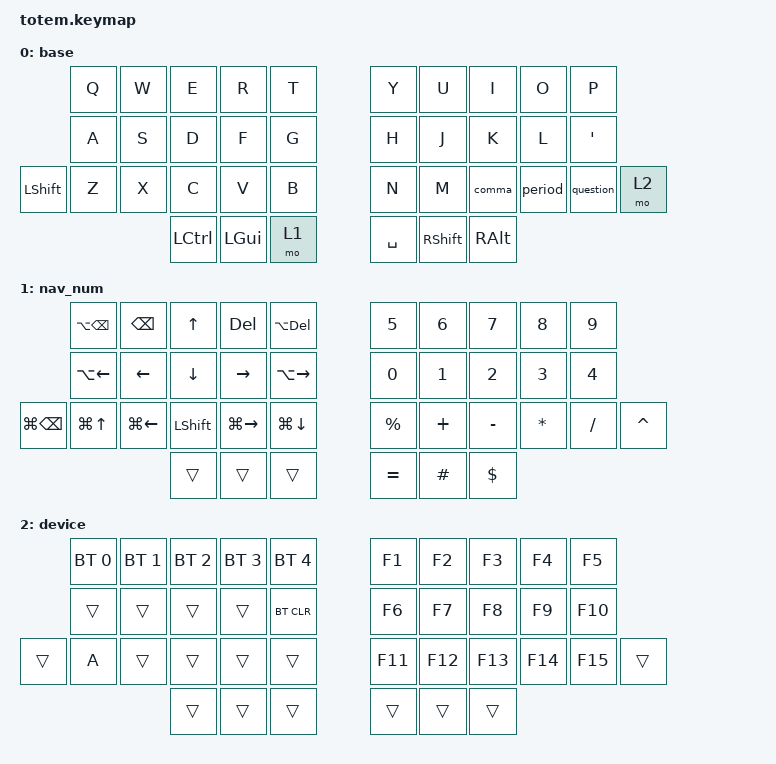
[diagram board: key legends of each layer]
//
//                                                        ▀▀▀▀▀     ▀▀▀▀▀          ▀▀█▀▀
//                                                        ▄▀▀▀▄  ▄  ▄▀▀▀▄  ▄  ▄▀▀▀▄  █  ▄▀▀▀▄
//                                                        █   █  █  █   █  █  █   █  █  █   █
//                                                         ▀▀▀   █   ▀▀▀   █   ▀▀▀   ▀   ▀▀▀
//                                                               █      ▄▄▄█▄▄▄    █   █  
//                                                               ▀      █  █  █     █▄█
//                                                             ▀▀▀▀▀    █  █  █      ▀
//                                                                      ▀  ▀  ▀
//
// ▄▄▄▄▄▄▄▄▄▄▄▄▄▄▄▄▄▄▄▄▄▄▄▄▄▄▄▄▄▄▄▄▄▄▄▄▄▄▄▄▄▄▄▄▄▄▄▄▄▄▄▄▄▄▄▄▄▄▄▄▄▄▄▄▄▄▄▄▄▄▄▄▄▄▄▄▄▄▄▄▄▄▄▄▄▄▄▄▄▄▄▄▄▄▄▄▄▄▄▄▄▄▄▄▄▄▄▄▄▄▄▄▄▄▄▄▄▄▄▄▄▄▄▄▄▄▄▄▄▄▄▄▄▄▄▄▄▄▄▄▄▄▄▄▄▄▄▄▄

#include <behaviors.dtsi>
#include <dt-bindings/zmk/bt.h>
#include <dt-bindings/zmk/keys.h>

#define BASE 0
#define NAV  1
#define SYM  2
#define ADJ  3
#define TVP1 4
#define TVP2 5

&lt { flavor = "hold-preferred"; };

&sk { release-after-ms = <1200>; };

/ {
    combos {
        compatible = "zmk,combos";

        // row 0

        combo_qw {
            bindings = <&kp ESCAPE>;
            key-positions = <0 1>;
            timeout-ms = <20>;
            slow-release;
        };

        combo_we {
            bindings = <&kp SPACE>;
            key-positions = <1 2>;
            timeout-ms = <20>;
            slow-release;
        };

        combo_er {
            bindings = <&kp C_PLAY_PAUSE>;
            key-positions = <2 3>;
            timeout-ms = <20>;
            slow-release;
        };

        combo_rt {
            bindings = <&kp LEFT_SHIFT>;
            key-positions = <3 4>;
            timeout-ms = <20>;
            slow-release;
        };

        combo_yu {
            bindings = <&kp LEFT_SHIFT>;
            key-positions = <5 6>;
            timeout-ms = <20>;
            slow-release;
        };

        combo_ui {
            bindings = <&kp AT_SIGN>;
            key-positions = <6 7>;
            timeout-ms = <20>;
            slow-release;
        };

        combo_io {
            bindings = <&kp AMPERSAND>;
            key-positions = <7 8>;
            timeout-ms = <20>;
            slow-release;
        };

        combo_op {
            bindings = <&kp UNDERSCORE>;
            key-positions = <8 9>;
            timeout-ms = <20>;
            slow-release;
        };

        // row 1

        combo_as {
            bindings = <&kp TAB>;
            key-positions = <10 11>;
            timeout-ms = <20>;
            slow-release;
        };

        combo_sd {
            bindings = <&kp ENTER>;
            key-positions = <11 12>;
            timeout-ms = <20>;
            slow-release;
        };

        combo_df {
            bindings = <&LB 0 0>;
            key-positions = <12 13>;
            timeout-ms = <20>;
            slow-release;
        };

        combo_fg {
            bindings = <&kp LSHIFT>;
            key-positions = <13 14>;
            timeout-ms = <20>;
            slow-release;
        };

        combo_hj {
            bindings = <&kp LESS_THAN>;
            key-positions = <15 16>;
            timeout-ms = <20>;
            slow-release;
        };

        combo_jk {
            bindings = <&kp LEFT_PARENTHESIS>;
            key-positions = <16 17>;
            timeout-ms = <20>;
            slow-release;
        };

        combo_kl {
            bindings = <&kp LEFT_BRACKET>;
            key-positions = <17 18>;
            timeout-ms = <20>;
            slow-release;
        };

        combo_lsemicolon {
            bindings = <&kp LEFT_BRACE>;
            key-positions = <18 19>;
            timeout-ms = <20>;
            slow-release;
        };

        // row 2

        combo_zx {
            bindings = <&kp LEFT_SHIFT>;
            key-positions = <21 22>;
            timeout-ms = <20>;
            slow-release;
        };

        combo_xc {
            bindings = <&kp LEFT_SHIFT>;
            key-positions = <22 23>;
            timeout-ms = <20>;
            slow-release;
        };

        combo_cv {
            bindings = <&kp LEFT_SHIFT>;
            key-positions = <23 24>;
            timeout-ms = <20>;
            slow-release;
        };

        combo_vb {
            bindings = <&kp LEFT_SHIFT>;
            key-positions = <24 25>;
            timeout-ms = <20>;
            slow-release;
        };

        combo_nm {
            bindings = <&kp GREATER_THAN>;
            key-positions = <26 27>;
            timeout-ms = <20>;
            slow-release;
        };

        combo_mcomma {
            bindings = <&kp RIGHT_PARENTHESIS>;
            key-positions = <27 28>;
            timeout-ms = <20>;
            slow-release;
        };

        combo_comma_dot {
            bindings = <&kp RIGHT_BRACKET>;
            key-positions = <28 29>;
            timeout-ms = <20>;
            slow-release;
        };

        combo_dot_slash {
            bindings = <&kp RIGHT_BRACE>;
            key-positions = <29 30>;
            timeout-ms = <20>;
            slow-release;
        };

        // vertical 01

        combo_qa {
            bindings = <&kp LG(LEFT_BRACKET)>;
            key-positions = <0 10>;
            timeout-ms = <20>;
            slow-release;
        };

        combo_ws {
            bindings = <&kp LG(RIGHT_BRACKET)>;
            key-positions = <1 11>;
            timeout-ms = <20>;
            slow-release;
        };

        combo_ed {
            bindings = <&kp LS(LC(TAB))>;
            key-positions = <2 12>;
            timeout-ms = <20>;
            slow-release;
        };

        combo_rf {
            bindings = <&kp LC(TAB)>;
            key-positions = <3 13>;
            timeout-ms = <20>;
            slow-release;
        };

        combo_tg {
            bindings = <&kp LG(LS(T))>;
            key-positions = <4 14>;
            timeout-ms = <20>;
            slow-release;
        };

        combo_yh {
            bindings = <&kp GRAVE>;
            key-positions = <5 15>;
            timeout-ms = <20>;
            slow-release;
        };

        combo_uj {
            bindings = <&kp LEFT_SHIFT>;
            key-positions = <6 16>;
            timeout-ms = <20>;
            slow-release;
        };

        combo_ik {
            bindings = <&kp LEFT_SHIFT>;
            key-positions = <7 17>;
            timeout-ms = <20>;
            slow-release;
        };

        combo_ol {
            bindings = <&kp LEFT_SHIFT>;
            key-positions = <8 18>;
            timeout-ms = <20>;
            slow-release;
        };

        combo_psemicolon {
            bindings = <&kp PIPE>;
            key-positions = <9 19>;
            timeout-ms = <20>;
            slow-release;
        };

        // vertical 12

        combo_az {
            bindings = <&kp LEFT_SHIFT>;
            key-positions = <10 21>;
            timeout-ms = <20>;
            slow-release;
        };

        combo_sx {
            bindings = <&kp LEFT_SHIFT>;
            key-positions = <11 22>;
            timeout-ms = <20>;
            slow-release;
        };

        combo_dc {
            bindings = <&kp LEFT_SHIFT>;
            key-positions = <12 23>;
            timeout-ms = <20>;
            slow-release;
        };

        combo_fv {
            bindings = <&kp LEFT_SHIFT>;
            key-positions = <13 24>;
            timeout-ms = <20>;
            slow-release;
        };

        combo_gb {
            bindings = <&kp LEFT_SHIFT>;
            key-positions = <14 25>;
            timeout-ms = <20>;
            slow-release;
        };

        combo_hn {
            bindings = <&kp TILDE>;
            key-positions = <15 26>;
            timeout-ms = <20>;
            slow-release;
        };

        combo_jm {
            bindings = <&kp LEFT_SHIFT>;
            key-positions = <16 27>;
            timeout-ms = <20>;
            slow-release;
        };

        combo_kcomma {
            bindings = <&kp LEFT_SHIFT>;
            key-positions = <17 28>;
            timeout-ms = <20>;
            slow-release;
        };

        combo_ldot {
            bindings = <&kp LEFT_SHIFT>;
            key-positions = <18 29>;
            timeout-ms = <20>;
            slow-release;
        };

        combo_semicolon_slash {
            bindings = <&kp BACKSLASH>;
            key-positions = <19 30>;
            timeout-ms = <20>;
            slow-release;
        };

        // down-right 01

        combo_qs {
            bindings = <&kp LEFT_SHIFT>;
            key-positions = <0 11>;
            timeout-ms = <20>;
            slow-release;
        };

        combo_wd {
            bindings = <&kp C_BRIGHTNESS_DEC>;
            key-positions = <1 12>;
            timeout-ms = <20>;
            slow-release;
        };

        combo_ef {
            bindings = <&kp C_VOLUME_DOWN>;
            key-positions = <2 13>;
            timeout-ms = <20>;
            slow-release;
        };

        combo_rg {
            bindings = <&kp LEFT_SHIFT>;
            key-positions = <3 14>;
            timeout-ms = <20>;
            slow-release;
        };

        combo_yj {
            bindings = <&kp LEFT_SHIFT>;
            key-positions = <5 16>;
            timeout-ms = <20>;
            slow-release;
        };

        combo_uk {
            bindings = <&kp LEFT_SHIFT>;
            key-positions = <6 17>;
            timeout-ms = <20>;
            slow-release;
        };

        combo_il {
            bindings = <&kp LEFT_SHIFT>;
            key-positions = <7 18>;
            timeout-ms = <20>;
            slow-release;
        };

        combo_osemicolon {
            bindings = <&kp LEFT_SHIFT>;
            key-positions = <8 19>;
            timeout-ms = <20>;
            slow-release;
        };

        // down-right 12

        combo_ax {
            bindings = <&kp LEFT_SHIFT>;
            key-positions = <10 22>;
            timeout-ms = <20>;
            slow-release;
        };

        combo_sc {
            bindings = <&kp LEFT_SHIFT>;
            key-positions = <11 23>;
            timeout-ms = <20>;
            slow-release;
        };

        combo_dv {
            bindings = <&kp LEFT_SHIFT>;
            key-positions = <12 24>;
            timeout-ms = <20>;
            slow-release;
        };

        combo_fb {
            bindings = <&kp LEFT_SHIFT>;
            key-positions = <13 25>;
            timeout-ms = <20>;
            slow-release;
        };

        combo_hm {
            bindings = <&kp LEFT_SHIFT>;
            key-positions = <15 27>;
            timeout-ms = <20>;
            slow-release;
        };

        combo_jcomma {
            bindings = <&kp LEFT_SHIFT>;
            key-positions = <16 28>;
            timeout-ms = <20>;
            slow-release;
        };

        combo_kdot {
            bindings = <&kp LEFT_SHIFT>;
            key-positions = <17 29>;
            timeout-ms = <20>;
            slow-release;
        };

        combo_lslash {
            bindings = <&kp LEFT_SHIFT>;
            key-positions = <18 30>;
            timeout-ms = <20>;
            slow-release;
        };

        // down-left 01

        combo_wa {
            bindings = <&kp LEFT_SHIFT>;
            key-positions = <1 10>;
            timeout-ms = <20>;
            slow-release;
        };

        combo_es {
            bindings = <&kp C_BRIGHTNESS_INC>;
            key-positions = <2 11>;
            timeout-ms = <20>;
            slow-release;
        };

        combo_rd {
            bindings = <&kp C_VOLUME_UP>;
            key-positions = <3 12>;
            timeout-ms = <20>;
            slow-release;
        };

        combo_tf {
            bindings = <&kp LEFT_SHIFT>;
            key-positions = <4 13>;
            timeout-ms = <20>;
            slow-release;
        };

        combo_uh {
            bindings = <&kp LEFT_SHIFT>;
            key-positions = <6 15>;
            timeout-ms = <20>;
            slow-release;
        };

        combo_ij {
            bindings = <&kp LEFT_SHIFT>;
            key-positions = <7 16>;
            timeout-ms = <20>;
            slow-release;
        };

        combo_ok {
            bindings = <&kp LEFT_SHIFT>;
            key-positions = <8 17>;
            timeout-ms = <20>;
            slow-release;
        };

        combo_pl {
            bindings = <&kp LEFT_SHIFT>;
            key-positions = <9 18>;
            timeout-ms = <20>;
            slow-release;
        };

        // down-left 12

        combo_sz {
            bindings = <&kp LEFT_SHIFT>;
            key-positions = <11 21>;
            timeout-ms = <20>;
            slow-release;
        };

        combo_dx {
            bindings = <&kp LEFT_SHIFT>;
            key-positions = <12 22>;
            timeout-ms = <20>;
            slow-release;
        };

        combo_fc {
            bindings = <&kp LEFT_SHIFT>;
            key-positions = <13 23>;
            timeout-ms = <20>;
            slow-release;
        };

        combo_gv {
            bindings = <&kp LEFT_SHIFT>;
            key-positions = <14 24>;
            timeout-ms = <20>;
            slow-release;
        };

        combo_jn {
            bindings = <&kp LEFT_SHIFT>;
            key-positions = <16 26>;
            timeout-ms = <20>;
            slow-release;
        };

        combo_km {
            bindings = <&kp LEFT_SHIFT>;
            key-positions = <17 27>;
            timeout-ms = <20>;
            slow-release;
        };

        combo_lcomma {
            bindings = <&kp LEFT_SHIFT>;
            key-positions = <18 28>;
            timeout-ms = <20>;
            slow-release;
        };

        combo_semicolon_dot {
            bindings = <&kp LEFT_SHIFT>;
            key-positions = <19 29>;
            timeout-ms = <20>;
            slow-release;
        };

        device {
            bindings = <&mo 2>;
            key-positions = <20 10>;
            slow-release;
        };
    };

    behaviors {
        sh: sh {
            compatible = "zmk,behavior-hold-tap";
            label = "SH";
            bindings = <&kp>, <&sk>;

            #binding-cells = <2>;
            tapping-term-ms = <180>;
            hold-while-undecided;
            hold-while-undecided-linger;
            flavor = "tap-preferred";
        };

        comma: comma {
            compatible = "zmk,behavior-mod-morph";
            label = "COMMA";
            bindings = <&kp COMMA>, <&kp SEMICOLON>;

            #binding-cells = <0>;
            mods = <(MOD_LSFT|MOD_RSFT)>;
        };

        period: period {
            compatible = "zmk,behavior-mod-morph";
            label = "PERIOD";
            bindings = <&kp PERIOD>, <&kp COLON>;

            #binding-cells = <0>;
            mods = <(MOD_LSFT|MOD_RSFT)>;
            keep-mods = <(MOD_LSFT|MOD_RSFT)>;
        };

        question: question {
            compatible = "zmk,behavior-mod-morph";
            label = "QUESTION";
            bindings = <&kp QUESTION>, <&kp EXCLAMATION>;

            #binding-cells = <0>;
            mods = <(MOD_LSFT|MOD_RSFT)>;
            keep-mods = <(MOD_LSFT|MOD_RSFT)>;
        };

        LB: LB {
            compatible = "zmk,behavior-hold-tap";
            label = "LB";
            bindings = <&lb2>, <&lb1>;

            #binding-cells = <2>;
            tapping-term-ms = <170>;
            flavor = "tap-preferred";
        };

        slt: slt {
            compatible = "zmk,behavior-hold-tap";
            label = "SLT";
            bindings = <&mo>, <&sk>;

            #binding-cells = <2>;
            tapping-term-ms = <150>;
        };
    };

    macros {
        lb2: double_control {
            compatible = "zmk,behavior-macro";
            #binding-cells = <0>;
            bindings = <&kp LEFT_GUI &kp LEFT_GUI>;
            label = "DOUBLE_CONTROL";
        };

        lb1: lb1 {
            compatible = "zmk,behavior-macro";
            #binding-cells = <0>;
            bindings = <&kp LG(SPACE)>;
            label = "LB1";
        };
    };

    keymap {
        compatible = "zmk,keymap";

        // ▄▄▄▄▄▄▄▄▄▄▄▄▄▄▄▄▄▄▄▄▄▄▄▄▄▄▄▄▄▄▄▄▄▄▄▄▄▄▄▄▄▄▄▄▄▄▄▄▄▄▄▄▄▄▄▄▄▄▄▄▄▄▄▄▄▄▄▄▄▄▄▄▄▄▄▄▄▄▄▄▄▄▄▄▄▄▄▄▄▄▄▄▄▄▄▄▄▄▄▄▄▄▄▄▄▄▄▄▄▄▄▄▄▄▄▄▄▄▄▄▄▄▄▄▄▄▄▄▄▄▄▄▄▄▄▄▄▄▄▄▄▄▄▄▄▄▄▄▄

        base {
            bindings = <
                &kp Q  &kp W  &kp E             &kp R         &kp T    &kp Y      &kp U            &kp I          &kp O    &kp P
                &kp A  &kp S  &kp D             &kp F         &kp G    &kp H      &kp J            &kp K          &kp L    &kp SINGLE_QUOTE
&kp LEFT_SHIFT  &kp Z  &kp X  &kp C             &kp V         &kp B    &kp N      &kp M            &comma         &period  &question         &mo 2
                              &kp LEFT_CONTROL  &kp LEFT_GUI  &mo 1    &kp SPACE  &kp RIGHT_SHIFT  &kp RIGHT_ALT
            >;
        };

        nav_num {
            // ┏━━━━━━━━━━━━━━━━━━━━━━━━━━━━━━━━━━━━━━━┓
            // ┗━━━━━━━━━━━━━━━━━━━━━━━━━━━━━━━━━━━━━━━┛
            //             ┏━━━━━━━━━━━┳━━━━━━━━━━━┳━━━━━━━━━━━┳━━━━━━━━━━━┳━━━━━━━━━━━┓   ┏━━━━━━━━━━━┳━━━━━━━━━━━┳━━━━━━━━━━━┳━━━━━━━━━━━┳━━━━━━━━━━━┓
            //             ┃           ┃           ┃     UP    ┃           ┃     {     ┃   ┃     }     ┃     7     ┃     8     ┃     9     ┃     +     ┃
            //             ┣━━━━━━━━━━━╋━━━━━━━━━━━╋━━━━━━━━━━━╋━━━━━━━━━━━╋━━━━━━━━━━━┫   ┣━━━━━━━━━━━╋━━━━━━━━━━━╋━━━━━━━━━━━╋━━━━━━━━━━━╋━━━━━━━━━━━┫
            //             ┃   SHIFT   ┃   LEFT    ┃    DOWN   ┃   RIGHT   ┃     [     ┃   ┃     ]     ┃     4     ┃     5     ┃     6     ┃     -     ┃
            // ┏━━━━━━━━━━━╋━━━━━━━━━━━╋━━━━━━━━━━━╋━━━━━━━━━━━╋━━━━━━━━━━━╋━━━━━━━━━━━┫   ┣━━━━━━━━━━━╋━━━━━━━━━━━╋━━━━━━━━━━━╋━━━━━━━━━━━╋━━━━━━━━━━━╋━━━━━━━━━━━┓
            // ┃           ┃           ┃   P UP    ┃  C LOCK   ┃  P DOWN   ┃     (     ┃   ┃     )     ┃     1     ┃     2     ┃     3     ┃     *     ┃           ┃
            // ┗━━━━━━━━━━━┻━━━━━━━━━━━┻━━━━━━━━━━━╋━━━━━━━━━━━╋━━━━━━━━━━━╋━━━━━━━━━━━┫   ┣━━━━━━━━━━━╋━━━━━━━━━━━╋━━━━━━━━━━━╋━━━━━━━━━━━┻━━━━━━━━━━━┻━━━━━━━━━━━┛
            //                                     ┃           ┃    TAB    ┃    SPC    ┃   ┃    DEL    ┃     0     ┃           ┃
            //                                     ┗━━━━━━━━━━━┻━━━━━━━━━━━┻━━━━━━━━━━━┛   ┗━━━━━━━━━━━┻━━━━━━━━━━━┻━━━━━━━━━━━┛

            bindings = <
                   &kp LA(BACKSPACE)   &kp BACKSPACE  &kp UP          &kp DELETE     &kp LA(DELETE)        &kp N5       &kp N6    &kp N7      &kp N8    &kp N9
                   &kp LA(LEFT_ARROW)  &kp LEFT       &kp DOWN        &kp RIGHT      &kp LA(RIGHT)         &kp N0       &kp N1    &kp N2      &kp N3    &kp N4
&kp LG(BACKSPACE)  &kp LG(UP_ARROW)    &kp LG(LEFT)   &kp LEFT_SHIFT  &kp LG(RIGHT)  &kp LG(DOWN_ARROW)    &kp PERCENT  &kp PLUS  &kp MINUS   &kp STAR  &kp FSLH  &kp CARET
                                                      &trans          &trans         &trans                &kp EQUAL    &kp HASH  &kp DOLLAR
            >;
        };

        device {
            // ┏━━━━━━━━━━━━━━━━━━━━━━━━━━━━━━━━━━━━━━━┓
            // ┗━━━━━━━━━━━━━━━━━━━━━━━━━━━━━━━━━━━━━━━┛
            //             ┏━━━━━━━━━━━┳━━━━━━━━━━━┳━━━━━━━━━━━┳━━━━━━━━━━━┳━━━━━━━━━━━┓   ┏━━━━━━━━━━━┳━━━━━━━━━━━┳━━━━━━━━━━━┳━━━━━━━━━━━┳━━━━━━━━━━━┓
            //             ┃   RESET   ┃ BT CLEAR  ┃  OUT TOG  ┃           ┃           ┃   ┃           ┃    F7     ┃    F8     ┃    F9     ┃    F12    ┃
            //             ┣━━━━━━━━━━━╋━━━━━━━━━━━╋━━━━━━━━━━━╋━━━━━━━━━━━╋━━━━━━━━━━━┫   ┣━━━━━━━━━━━╋━━━━━━━━━━━╋━━━━━━━━━━━╋━━━━━━━━━━━╋━━━━━━━━━━━┫
            //             ┃ BOOTLOAD  ┃ BT NEXT   ┃           ┃           ┃           ┃   ┃           ┃    F4     ┃    F5     ┃    F6     ┃    F11    ┃
            // ┏━━━━━━━━━━━╋━━━━━━━━━━━╋━━━━━━━━━━━╋━━━━━━━━━━━╋━━━━━━━━━━━╋━━━━━━━━━━━┫   ┣━━━━━━━━━━━╋━━━━━━━━━━━╋━━━━━━━━━━━╋━━━━━━━━━━━╋━━━━━━━━━━━╋━━━━━━━━━━━┓
            // ┃           ┃           ┃ BT PREV   ┃           ┃           ┃           ┃   ┃           ┃    F1     ┃    F2     ┃    F3     ┃    F10    ┃           ┃
            // ┗━━━━━━━━━━━┻━━━━━━━━━━━┻━━━━━━━━━━━╋━━━━━━━━━━━╋━━━━━━━━━━━╋━━━━━━━━━━━┫   ┣━━━━━━━━━━━╋━━━━━━━━━━━╋━━━━━━━━━━━╋━━━━━━━━━━━┻━━━━━━━━━━━┻━━━━━━━━━━━┛
            //                                     ┃           ┃           ┃           ┃   ┃           ┃           ┃           ┃
            //                                     ┗━━━━━━━━━━━┻━━━━━━━━━━━┻━━━━━━━━━━━┛   ┗━━━━━━━━━━━┻━━━━━━━━━━━┻━━━━━━━━━━━┛

            bindings = <
        &bt BT_SEL 0  &bt BT_SEL 1  &bt BT_SEL 2  &bt BT_SEL 3  &bt BT_SEL 4    &kp F1   &kp F2   &kp F3   &kp F4   &kp F5
        &trans        &trans        &trans        &trans        &bt BT_CLR      &kp F6   &kp F7   &kp F8   &kp F9   &kp F10
&trans  &kp A         &trans        &trans        &trans        &trans          &kp F11  &kp F12  &kp F13  &kp F14  &kp F15  &trans
                                    &trans        &trans        &trans          &trans   &trans   &trans
            >;
        };

        // ▄▄▄▄▄▄▄▄▄▄▄▄▄▄▄▄▄▄▄▄▄▄▄▄▄▄▄▄▄▄▄▄▄▄▄▄▄▄▄▄▄▄▄▄▄▄▄▄▄▄▄▄▄▄▄▄▄▄▄▄▄▄▄▄▄▄▄▄▄▄▄▄▄▄▄▄▄▄▄▄▄▄▄▄▄▄▄▄▄▄▄▄▄▄▄▄▄▄▄▄▄▄▄▄▄▄▄▄▄▄▄▄▄▄▄▄▄▄▄▄▄▄▄▄▄▄▄▄▄▄▄▄▄▄▄▄▄▄▄▄▄▄▄▄▄▄▄▄▄
        // ▄▄▄▄▄▄▄▄▄▄▄▄▄▄▄▄▄▄▄▄▄▄▄▄▄▄▄▄▄▄▄▄▄▄▄▄▄▄▄▄▄▄▄▄▄▄▄▄▄▄▄▄▄▄▄▄▄▄▄▄▄▄▄▄▄▄▄▄▄▄▄▄▄▄▄▄▄▄▄▄▄▄▄▄▄▄▄▄▄▄▄▄▄▄▄▄▄▄▄▄▄▄▄▄▄▄▄▄▄▄▄▄▄▄▄▄▄▄▄▄▄▄▄▄▄▄▄▄▄▄▄▄▄▄▄▄▄▄▄▄▄▄▄▄▄▄▄▄▄
    };

    conditional_layers { compatible = "zmk,conditional-layers"; };
};
